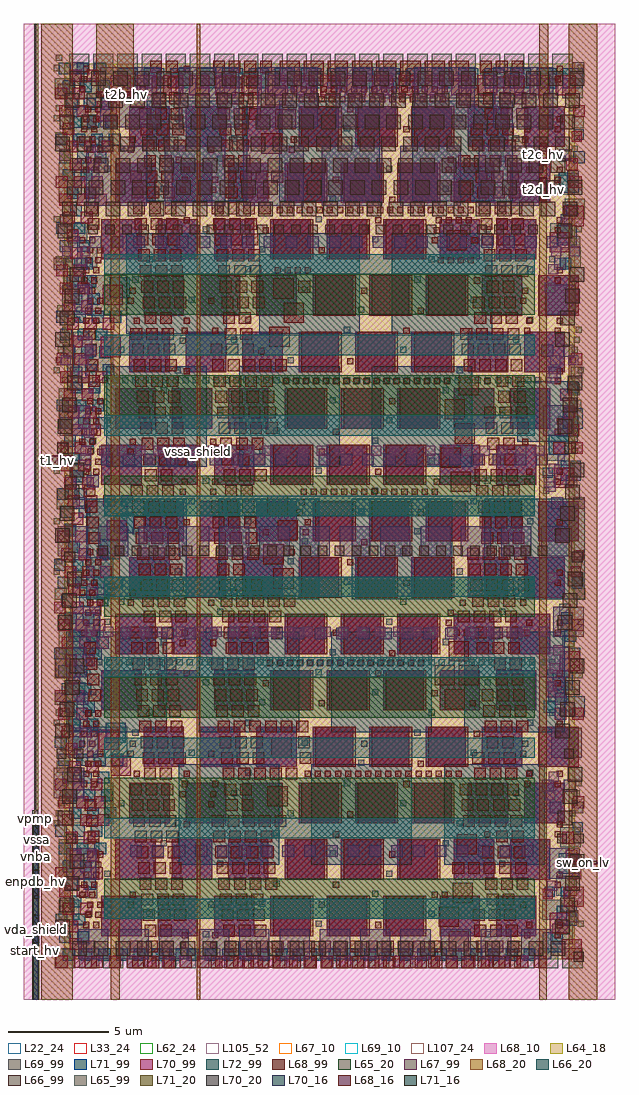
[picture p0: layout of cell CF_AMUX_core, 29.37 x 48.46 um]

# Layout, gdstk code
import gdstk
lib = gdstk.Library(unit=1e-6, precision=1e-09)
def R(c, l, rs):  # rectangles x0, y0, x1, y1
    for r in rs: c.add(gdstk.rectangle(r[:2], r[2:], *l))
def A(c, l, x, y, w, h, nx, ny, dx, dy):  # array of equal rectangles
    R(c, l, [(x+i*dx, y+j*dy, x+i*dx+w, y+j*dy+h) for i in range(nx) for j in range(ny)])
L22_24 = (22, 24)
L33_24 = (33, 24)
L62_24 = (62, 24)
L64_18 = (64, 18)
L65_20 = (65, 20)
L65_99 = (65, 99)
L66_20 = (66, 20)
L66_99 = (66, 99)
L67_10 = (67, 10)
L67_99 = (67, 99)
L68_10 = (68, 10)
L68_16 = (68, 16)
L68_20 = (68, 20)
L68_99 = (68, 99)
L69_10 = (69, 10)
L69_99 = (69, 99)
L70_16 = (70, 16)
L70_20 = (70, 20)
L70_99 = (70, 99)
L71_16 = (71, 16)
L71_20 = (71, 20)
L71_99 = (71, 99)
L72_99 = (72, 99)
L105_52 = (105, 52)
L107_24 = (107, 24)

cf_amux_core = lib.new_cell('CF_AMUX_core')
R(cf_amux_core, L22_24, [(0,0,29.37,48.46)])
R(cf_amux_core, L33_24, [(0,0,29.37,48.46)])
R(cf_amux_core, L62_24, [(0,0,29.37,48.46)])
R(cf_amux_core, L64_18, [(2,2,27.37,46.46)])
A(cf_amux_core, L65_20, 4, 4, 21.37, 2, 1, 7, 0, 5)
A(cf_amux_core, L65_99, 3.04, 18, 0.5, 0.5, 26, 1, 0.9, 0)
A(cf_amux_core, L65_99, 2.84, 27, 0.5, 0.5, 26, 1, 0.9, 0)
R(cf_amux_core, L65_99, [(26,5.4,26.5,5.9), (25.9,9.9,26.4,10.4), (26.06,10.8,26.56,11.3), (25.96,15.3,26.46,15.8), (26.12,16.2,26.62,16.7), (26.28,17.1,26.78,17.6), (26.02,20.7,26.52,21.2), (25.92,25.2,26.42,25.7), (26.08,26.1,26.58,26.6), (3,27.9,3.5,28.4), (25.98,30.6,26.48,31.1), (1.84,31.5,2.34,32), (2.74,31.5,3.24,32), (26.14,31.5,26.64,32), (27.04,31.5,27.54,32), (2.9,32.4,3.4,32.9), (25.88,35.1,26.38,35.6), (26.04,36,26.54,36.5), (1.9,36.9,2.4,37.4), (2.8,36.9,3.3,37.4), (26.2,36.9,26.7,37.4), (27.1,36.9,27.6,37.4)])
A(cf_amux_core, L66_20, 4, 4, 21.37, 1, 1, 9, 0, 4)
A(cf_amux_core, L66_99, 2.4, 2.16, 0.72, 0.72, 23, 2, 1.08, 38.88)
A(cf_amux_core, L66_99, 1.56, 3.24, 0.72, 0.72, 1, 4, 0, 9.72)
A(cf_amux_core, L66_99, 26.4, 3.24, 0.72, 0.72, 1, 4, 0, 9.72)
A(cf_amux_core, L66_99, 1.8, 4.32, 0.72, 0.72, 1, 4, 0, 9.72)
A(cf_amux_core, L66_99, 26.64, 4.32, 0.72, 0.72, 1, 4, 0, 9.72)
A(cf_amux_core, L66_99, 2.04, 5.4, 0.72, 0.72, 1, 4, 0, 9.72)
A(cf_amux_core, L66_99, 26.88, 5.4, 0.72, 0.72, 1, 4, 0, 9.72)
A(cf_amux_core, L66_99, 2.28, 6.48, 0.72, 0.72, 1, 4, 0, 9.72)
A(cf_amux_core, L66_99, 27.12, 6.48, 0.72, 0.72, 1, 4, 0, 9.72)
A(cf_amux_core, L66_99, 1.68, 8.64, 0.72, 0.72, 1, 4, 0, 9.72)
A(cf_amux_core, L66_99, 26.52, 8.64, 0.72, 0.72, 1, 4, 0, 9.72)
A(cf_amux_core, L66_99, 1.92, 9.72, 0.72, 0.72, 1, 3, 0, 9.72)
A(cf_amux_core, L66_99, 26.76, 9.72, 0.72, 0.72, 1, 3, 0, 9.72)
A(cf_amux_core, L66_99, 2.16, 10.8, 0.72, 0.72, 1, 3, 0, 9.72)
A(cf_amux_core, L66_99, 27, 10.8, 0.72, 0.72, 1, 3, 0, 9.72)
A(cf_amux_core, L66_99, 3.68, 22.04, 0.48, 0.48, 27, 1, 0.84, 0)
A(cf_amux_core, L66_99, 3.2, 38, 0.48, 0.48, 27, 1, 0.84, 0)
A(cf_amux_core, L66_99, 1.92, 38.88, 0.72, 0.72, 24, 1, 1.08, 0)
A(cf_amux_core, L66_99, 2.16, 39.96, 0.72, 0.72, 24, 1, 1.08, 0)
A(cf_amux_core, L66_99, 1.56, 42.12, 0.72, 0.72, 24, 1, 1.08, 0)
A(cf_amux_core, L66_99, 1.8, 43.2, 0.72, 0.72, 24, 1, 1.08, 0)
A(cf_amux_core, L66_99, 2.04, 44.28, 0.72, 0.72, 24, 1, 1.08, 0)
A(cf_amux_core, L66_99, 2.28, 45.36, 0.72, 0.72, 24, 1, 1.08, 0)
R(cf_amux_core, L66_99, [(27.32,1.88,27.8,2.36), (2.12,7.76,2.6,8.24), (26.48,7.76,26.96,8.24), (27.32,7.76,27.8,8.24), (1.64,11.96,2.12,12.44), (2.48,11.96,2.96,12.44), (26.84,11.96,27.32,12.44), (2.02,21.7,2.56,22.24), (27.22,21.7,27.76,22.24), (1.66,27.1,2.2,27.64), (26.86,27.1,27.4,27.64)])
R(cf_amux_core, L67_10, [(0,0,29.37,48.46)])
A(cf_amux_core, L67_99, 2.7, 2, 1.5, 1.5, 12, 1, 2, 0)
A(cf_amux_core, L67_99, 5.28, 7.08, 0.58, 0.58, 19, 1, 1.08, 0)
A(cf_amux_core, L67_99, 4.72, 17.88, 0.58, 0.58, 19, 1, 1.08, 0)
A(cf_amux_core, L67_99, 1.7, 22, 1.5, 1.5, 13, 1, 2, 0)
A(cf_amux_core, L67_99, 1.68, 26.52, 0.58, 0.58, 24, 1, 1.08, 0)
A(cf_amux_core, L67_99, 2.2, 37.32, 0.58, 0.58, 24, 1, 1.08, 0)
A(cf_amux_core, L67_99, 3.1, 39.4, 3, 3, 6, 1, 3.9, 0)
A(cf_amux_core, L67_99, 3.8, 43.3, 3, 3, 6, 1, 3.9, 0)
R(cf_amux_core, L67_99, [(26.94,3.84,27.52,4.42), (2.1,6,3.6,7.5), (26.1,6,27.6,7.5), (26.12,9.24,26.7,9.82), (27.2,9.24,27.78,9.82), (1.5,10,3,11.5), (25.74,10.32,26.32,10.9), (26.82,10.32,27.4,10.9), (2.2,12,3.7,13.5), (26.2,12,27.7,13.5), (1.54,14.64,2.12,15.22), (2.62,14.64,3.2,15.22), (26.38,14.64,26.96,15.22), (1.6,16,3.1,17.5), (25.6,16,27.1,17.5), (2.3,18,3.8,19.5), (26.3,18,27.8,19.5), (2.44,24.36,3.02,24.94), (26.2,24.36,26.78,24.94), (27.28,24.36,27.86,24.94), (2.06,25.44,2.64,26.02), (3.14,25.44,3.72,26.02), (25.82,25.44,26.4,26.02), (26.9,25.44,27.48,26.02), (1.8,28,3.3,29.5), (25.8,28,27.3,29.5), (2.32,30.84,2.9,31.42), (26.08,30.84,26.66,31.42), (27.16,30.84,27.74,31.42), (1.94,31.92,2.52,32.5), (3.02,31.92,3.6,32.5), (25.7,31.92,26.28,32.5), (26.78,31.92,27.36,32.5), (1.9,34,3.4,35.5), (25.9,34,27.4,35.5), (1.5,36.24,2.08,36.82), (2.58,36.24,3.16,36.82), (26.34,36.24,26.92,36.82), (1.82,38.4,2.4,38.98), (26.66,38.4,27.24,38.98), (26.98,40.56,27.56,41.14), (1.76,41.64,2.34,42.22), (26.6,41.64,27.18,42.22), (2.08,43.8,2.66,44.38), (1.7,44.88,2.28,45.46), (2.4,45.96,2.98,46.54), (27.24,45.96,27.82,46.54)])
R(cf_amux_core, L68_10, [(0,0,0.86,48.46), (0.86,0,2.445,26.48), (2.445,0,3.61,48.46), (3.61,0,4.325,44.775), (4.325,0,4.76,48.46), (4.76,0,5.455,44.77), (5.455,0,8.6,48.46), (8.6,0,8.77,27.13), (8.77,0,25.6,48.46), (25.6,0,25.965,39.65), (25.965,0,25.97,41.385), (25.97,0,27.07,48.46), (27.07,0,28.48,6.705), (28.48,0,29.37,48.46), (27.07,6.875,28.48,48.46), (0.86,27,2.445,48.46), (8.6,27.3,8.77,48.46), (25.6,40.79,25.965,41.385), (25.6,42.525,25.965,48.46), (25.965,42.525,25.97,48.46), (3.61,45.07,4.325,48.46), (4.76,45.07,5.455,48.46)])
R(cf_amux_core, L68_16, [(27.07,6.705,28.48,6.875), (0.86,26.48,2.445,27), (8.6,27.13,8.77,27.3), (25.6,39.65,25.965,40.79), (25.6,41.385,25.97,42.525), (4.76,44.77,5.455,45.07), (3.61,44.775,4.325,45.07)])
R(cf_amux_core, L68_20, [(0.86,0,2.445,26.48), (4.325,0,4.76,48.46), (8.6,0,8.77,27.13), (25.6,0,25.965,39.65), (25.965,0,25.97,41.385), (27.07,0,28.48,6.705), (27.07,6.705,28.48,6.875), (27.07,6.875,28.48,48.46), (0.86,26.48,2.445,27), (0.86,27,2.445,48.46), (8.6,27.13,8.77,27.3), (8.6,27.3,8.77,48.46), (25.6,39.65,25.965,40.79), (25.6,40.79,25.965,41.385), (25.6,41.385,25.97,42.525), (25.6,42.525,25.965,48.46), (25.9,42.525,26.04,48.46), (4.76,44.77,5.455,45.07), (3.61,44.775,4.325,45.07), (3.61,45.07,4.325,48.46), (4.76,45.07,5.455,48.46)])
A(cf_amux_core, L68_99, 5.38, 1.56, 0.58, 0.58, 3, 2, 0.78, 30.42)
A(cf_amux_core, L68_99, 9.28, 1.56, 0.58, 0.58, 20, 1, 0.78, 0)
A(cf_amux_core, L68_99, 5.3, 2.34, 0.58, 0.58, 3, 2, 0.78, 30.42)
A(cf_amux_core, L68_99, 9.98, 2.34, 0.58, 0.58, 14, 1, 0.78, 0)
A(cf_amux_core, L68_99, 22.46, 2.34, 0.58, 0.58, 3, 1, 0.78, 0)
A(cf_amux_core, L68_99, 7.755, 2.55, 0.3, 0.3, 1, 6, 0, 7.5)
A(cf_amux_core, L68_99, 9.255, 2.55, 0.3, 0.3, 1, 4, 0, 7.5)
A(cf_amux_core, L68_99, 7.855, 3.05, 0.3, 0.3, 1, 6, 0, 7.5)
A(cf_amux_core, L68_99, 24.855, 3.05, 0.3, 0.3, 1, 5, 0, 7.5)
A(cf_amux_core, L68_99, 26.355, 3.05, 0.3, 0.3, 1, 18, 0, 2.5)
A(cf_amux_core, L68_99, 9.9, 3.12, 0.58, 0.58, 3, 1, 0.78, 0)
A(cf_amux_core, L68_99, 22.38, 3.12, 0.58, 0.58, 3, 2, 0.78, 30.42)
A(cf_amux_core, L68_99, 12.38, 3.15, 2, 2, 3, 4, 2.8, 11.2)
A(cf_amux_core, L68_99, 24.955, 3.55, 0.3, 0.3, 1, 6, 0, 7.5)
A(cf_amux_core, L68_99, 26.455, 3.55, 0.3, 0.3, 1, 18, 0, 2.5)
A(cf_amux_core, L68_99, 5.92, 3.9, 0.58, 0.58, 3, 2, 0.78, 30.42)
A(cf_amux_core, L68_99, 9.82, 3.9, 0.58, 0.58, 3, 2, 0.78, 30.42)
A(cf_amux_core, L68_99, 22.3, 3.9, 0.58, 0.58, 3, 2, 0.78, 30.42)
A(cf_amux_core, L68_99, 5.155, 4.55, 0.3, 0.3, 1, 5, 0, 7.5)
A(cf_amux_core, L68_99, 24.655, 4.55, 0.3, 0.3, 1, 3, 0, 7.5)
A(cf_amux_core, L68_99, 5.84, 4.68, 0.58, 0.58, 3, 2, 0.78, 30.42)
A(cf_amux_core, L68_99, 9.74, 4.68, 0.58, 0.58, 3, 2, 0.78, 30.42)
A(cf_amux_core, L68_99, 2.755, 5.05, 0.3, 0.3, 1, 5, 0, 7.5)
A(cf_amux_core, L68_99, 3.255, 5.05, 0.3, 0.3, 1, 5, 0, 7.5)
A(cf_amux_core, L68_99, 5.255, 5.05, 0.3, 0.3, 1, 6, 0, 7.5)
A(cf_amux_core, L68_99, 5.76, 5.46, 0.58, 0.58, 3, 2, 0.78, 30.42)
A(cf_amux_core, L68_99, 9.66, 5.46, 0.58, 0.58, 4, 1, 0.78, 0)
A(cf_amux_core, L68_99, 22.92, 5.46, 0.58, 0.58, 3, 2, 0.78, 30.42)
A(cf_amux_core, L68_99, 13.08, 5.95, 2, 2, 3, 4, 2.8, 11.2)
A(cf_amux_core, L68_99, 5.68, 6.24, 0.58, 0.58, 3, 2, 0.78, 30.42)
A(cf_amux_core, L68_99, 9.58, 6.24, 0.58, 0.58, 4, 1, 0.78, 0)
A(cf_amux_core, L68_99, 21.28, 6.24, 0.58, 0.58, 5, 1, 0.78, 0)
A(cf_amux_core, L68_99, 5.6, 7.02, 0.58, 0.58, 3, 2, 0.78, 30.42)
A(cf_amux_core, L68_99, 9.5, 7.02, 0.58, 0.58, 4, 1, 0.78, 0)
A(cf_amux_core, L68_99, 22.76, 7.02, 0.58, 0.58, 3, 2, 0.78, 30.42)
A(cf_amux_core, L68_99, 5.52, 7.8, 0.58, 0.58, 3, 2, 0.78, 30.42)
A(cf_amux_core, L68_99, 9.42, 7.8, 0.58, 0.58, 4, 1, 0.78, 0)
A(cf_amux_core, L68_99, 5.44, 8.58, 0.58, 0.58, 3, 2, 0.78, 30.42)
A(cf_amux_core, L68_99, 9.34, 8.58, 0.58, 0.58, 5, 1, 0.78, 0)
A(cf_amux_core, L68_99, 21.82, 8.58, 0.58, 0.58, 4, 1, 0.78, 0)
A(cf_amux_core, L68_99, 13.78, 8.75, 2, 2, 3, 4, 2.8, 11.2)
A(cf_amux_core, L68_99, 5.36, 9.36, 0.58, 0.58, 3, 2, 0.78, 30.42)
A(cf_amux_core, L68_99, 21.74, 9.36, 0.58, 0.58, 4, 1, 0.78, 0)
A(cf_amux_core, L68_99, 5.28, 10.14, 0.58, 0.58, 3, 2, 0.78, 30.42)
A(cf_amux_core, L68_99, 21.66, 10.14, 0.58, 0.58, 4, 1, 0.78, 0)
A(cf_amux_core, L68_99, 9.88, 10.92, 0.58, 0.58, 5, 1, 0.78, 0)
A(cf_amux_core, L68_99, 22.36, 10.92, 0.58, 0.58, 3, 1, 0.78, 0)
A(cf_amux_core, L68_99, 13.955, 11.05, 0.3, 0.3, 16, 1, 0.5, 0)
A(cf_amux_core, L68_99, 14.48, 11.55, 2, 2, 3, 3, 2.8, 11.2)
A(cf_amux_core, L68_99, 5.9, 11.7, 0.58, 0.58, 3, 2, 0.78, 30.42)
A(cf_amux_core, L68_99, 9.8, 11.7, 0.58, 0.58, 3, 1, 0.78, 0)
A(cf_amux_core, L68_99, 22.28, 11.7, 0.58, 0.58, 3, 2, 0.78, 30.42)
A(cf_amux_core, L68_99, 9.155, 12.05, 0.3, 0.3, 1, 4, 0, 7.5)
A(cf_amux_core, L68_99, 5.82, 12.48, 0.58, 0.58, 3, 2, 0.78, 30.42)
A(cf_amux_core, L68_99, 9.72, 12.48, 0.58, 0.58, 3, 1, 0.78, 0)
A(cf_amux_core, L68_99, 5.74, 13.26, 0.58, 0.58, 3, 2, 0.78, 30.42)
A(cf_amux_core, L68_99, 9.64, 13.26, 0.58, 0.58, 6, 1, 0.78, 0)
A(cf_amux_core, L68_99, 22.9, 13.26, 0.58, 0.58, 3, 2, 0.78, 30.42)
A(cf_amux_core, L68_99, 5.66, 14.04, 0.58, 0.58, 3, 1, 0.78, 0)
A(cf_amux_core, L68_99, 9.56, 14.04, 0.58, 0.58, 3, 2, 0.78, 30.42)
A(cf_amux_core, L68_99, 22.82, 14.04, 0.58, 0.58, 3, 2, 0.78, 30.42)
A(cf_amux_core, L68_99, 5.58, 14.82, 0.58, 0.58, 3, 1, 0.78, 0)
A(cf_amux_core, L68_99, 9.48, 14.82, 0.58, 0.58, 3, 2, 0.78, 30.42)
A(cf_amux_core, L68_99, 22.74, 14.82, 0.58, 0.58, 3, 1, 0.78, 0)
A(cf_amux_core, L68_99, 5.5, 15.6, 0.58, 0.58, 3, 1, 0.78, 0)
A(cf_amux_core, L68_99, 9.4, 15.6, 0.58, 0.58, 3, 1, 0.78, 0)
A(cf_amux_core, L68_99, 21.6, 15.6, 1, 1, 1, 3, 0, 14.4)
A(cf_amux_core, L68_99, 7.955, 16.05, 0.3, 0.3, 1, 3, 0, 7.5)
A(cf_amux_core, L68_99, 5.42, 16.38, 0.58, 0.58, 3, 1, 0.78, 0)
A(cf_amux_core, L68_99, 9.32, 16.38, 0.58, 0.58, 3, 1, 0.78, 0)
A(cf_amux_core, L68_99, 12.055, 16.55, 0.3, 0.3, 16, 1, 0.5, 0)
A(cf_amux_core, L68_99, 5.34, 17.16, 0.58, 0.58, 3, 1, 0.78, 0)
A(cf_amux_core, L68_99, 10.02, 17.16, 0.58, 0.58, 3, 1, 0.78, 0)
A(cf_amux_core, L68_99, 22.5, 17.16, 0.58, 0.58, 3, 1, 0.78, 0)
A(cf_amux_core, L68_99, 5.26, 17.94, 0.58, 0.58, 3, 1, 0.78, 0)
A(cf_amux_core, L68_99, 9.94, 17.94, 0.58, 0.58, 4, 1, 0.78, 0)
A(cf_amux_core, L68_99, 22.42, 17.94, 0.58, 0.58, 3, 1, 0.78, 0)
A(cf_amux_core, L68_99, 9.355, 18.05, 0.3, 0.3, 3, 1, 6, 0)
A(cf_amux_core, L68_99, 5.96, 18.72, 0.58, 0.58, 3, 1, 0.78, 0)
A(cf_amux_core, L68_99, 9.86, 18.72, 0.58, 0.58, 4, 1, 0.78, 0)
A(cf_amux_core, L68_99, 21.56, 18.72, 0.58, 0.58, 4, 1, 0.78, 0)
A(cf_amux_core, L68_99, 5.88, 19.5, 0.58, 0.58, 3, 1, 0.78, 0)
A(cf_amux_core, L68_99, 9.78, 19.5, 0.58, 0.58, 5, 1, 0.78, 0)
A(cf_amux_core, L68_99, 22.26, 19.5, 0.58, 0.58, 3, 1, 0.78, 0)
A(cf_amux_core, L68_99, 5.8, 20.28, 0.58, 0.58, 3, 1, 0.78, 0)
A(cf_amux_core, L68_99, 9.7, 20.28, 0.58, 0.58, 3, 1, 0.78, 0)
A(cf_amux_core, L68_99, 22.18, 20.28, 0.58, 0.58, 4, 1, 0.78, 0)
A(cf_amux_core, L68_99, 2.855, 20.55, 0.3, 0.3, 1, 4, 0, 7.5)
A(cf_amux_core, L68_99, 3.355, 20.55, 0.3, 0.3, 1, 4, 0, 7.5)
A(cf_amux_core, L68_99, 5.72, 21.06, 0.58, 0.58, 3, 1, 0.78, 0)
A(cf_amux_core, L68_99, 22.1, 21.06, 0.58, 0.58, 4, 1, 0.78, 0)
A(cf_amux_core, L68_99, 5.64, 21.84, 0.58, 0.58, 3, 1, 0.78, 0)
A(cf_amux_core, L68_99, 9.54, 21.84, 0.58, 0.58, 3, 1, 0.78, 0)
A(cf_amux_core, L68_99, 22.02, 21.84, 0.58, 0.58, 4, 1, 0.78, 0)
A(cf_amux_core, L68_99, 5.56, 22.62, 0.58, 0.58, 3, 1, 0.78, 0)
A(cf_amux_core, L68_99, 9.46, 22.62, 0.58, 0.58, 3, 1, 0.78, 0)
A(cf_amux_core, L68_99, 22.72, 22.62, 0.58, 0.58, 3, 1, 0.78, 0)
A(cf_amux_core, L68_99, 5.48, 23.4, 0.58, 0.58, 3, 1, 0.78, 0)
A(cf_amux_core, L68_99, 9.38, 23.4, 0.58, 0.58, 3, 1, 0.78, 0)
A(cf_amux_core, L68_99, 22.64, 23.4, 0.58, 0.58, 3, 1, 0.78, 0)
A(cf_amux_core, L68_99, 5.4, 24.18, 0.58, 0.58, 3, 1, 0.78, 0)
A(cf_amux_core, L68_99, 9.3, 24.18, 0.58, 0.58, 3, 1, 0.78, 0)
A(cf_amux_core, L68_99, 22.56, 24.18, 0.58, 0.58, 3, 1, 0.78, 0)
A(cf_amux_core, L68_99, 5.32, 24.96, 0.58, 0.58, 3, 1, 0.78, 0)
A(cf_amux_core, L68_99, 22.48, 24.96, 0.58, 0.58, 3, 1, 0.78, 0)
A(cf_amux_core, L68_99, 13.755, 25.05, 0.3, 0.3, 14, 1, 0.5, 0)
A(cf_amux_core, L68_99, 9.355, 25.55, 0.3, 0.3, 1, 3, 0, 7.5)
A(cf_amux_core, L68_99, 9.92, 25.74, 0.58, 0.58, 3, 1, 0.78, 0)
A(cf_amux_core, L68_99, 22.4, 25.74, 0.58, 0.58, 3, 1, 0.78, 0)
A(cf_amux_core, L68_99, 5.94, 26.52, 0.58, 0.58, 3, 1, 0.78, 0)
A(cf_amux_core, L68_99, 9.84, 26.52, 0.58, 0.58, 3, 1, 0.78, 0)
A(cf_amux_core, L68_99, 22.32, 26.52, 0.58, 0.58, 3, 1, 0.78, 0)
A(cf_amux_core, L68_99, 5.86, 27.3, 0.58, 0.58, 3, 1, 0.78, 0)
A(cf_amux_core, L68_99, 9.76, 27.3, 0.58, 0.58, 3, 1, 0.78, 0)
A(cf_amux_core, L68_99, 24.755, 27.55, 0.3, 0.3, 1, 3, 0, 7.5)
A(cf_amux_core, L68_99, 5.78, 28.08, 0.58, 0.58, 3, 1, 0.78, 0)
A(cf_amux_core, L68_99, 9.68, 28.08, 0.58, 0.58, 4, 1, 0.78, 0)
A(cf_amux_core, L68_99, 22.94, 28.08, 0.58, 0.58, 3, 1, 0.78, 0)
A(cf_amux_core, L68_99, 5.7, 28.86, 0.58, 0.58, 3, 1, 0.78, 0)
A(cf_amux_core, L68_99, 9.6, 28.86, 0.58, 0.58, 4, 1, 0.78, 0)
A(cf_amux_core, L68_99, 22.86, 28.86, 0.58, 0.58, 3, 1, 0.78, 0)
A(cf_amux_core, L68_99, 5.62, 29.64, 0.58, 0.58, 3, 1, 0.78, 0)
A(cf_amux_core, L68_99, 9.52, 29.64, 0.58, 0.58, 4, 1, 0.78, 0)
A(cf_amux_core, L68_99, 5.54, 30.42, 0.58, 0.58, 3, 1, 0.78, 0)
A(cf_amux_core, L68_99, 9.44, 30.42, 0.58, 0.58, 4, 1, 0.78, 0)
A(cf_amux_core, L68_99, 12.855, 30.55, 0.3, 0.3, 17, 1, 0.5, 0)
A(cf_amux_core, L68_99, 5.46, 31.2, 0.58, 0.58, 3, 1, 0.78, 0)
A(cf_amux_core, L68_99, 9.36, 31.2, 0.58, 0.58, 5, 1, 0.78, 0)
A(cf_amux_core, L68_99, 21.84, 31.2, 0.58, 0.58, 4, 1, 0.78, 0)
A(cf_amux_core, L68_99, 9.28, 31.98, 0.58, 0.58, 3, 1, 0.78, 0)
A(cf_amux_core, L68_99, 21.76, 31.98, 0.58, 0.58, 4, 1, 0.78, 0)
A(cf_amux_core, L68_99, 21.68, 32.76, 0.58, 0.58, 4, 1, 0.78, 0)
A(cf_amux_core, L68_99, 9.66, 35.88, 0.58, 0.58, 3, 1, 0.78, 0)
A(cf_amux_core, L68_99, 12.455, 36.05, 0.3, 0.3, 4, 1, 0.5, 0)
A(cf_amux_core, L68_99, 20.555, 36.55, 0.3, 0.3, 4, 1, 0.5, 0)
A(cf_amux_core, L68_99, 9.58, 36.66, 0.58, 0.58, 3, 1, 0.78, 0)
A(cf_amux_core, L68_99, 22.84, 36.66, 0.58, 0.58, 3, 1, 0.78, 0)
A(cf_amux_core, L68_99, 9.5, 37.44, 0.58, 0.58, 3, 1, 0.78, 0)
A(cf_amux_core, L68_99, 9.42, 38.22, 0.58, 0.58, 3, 1, 0.78, 0)
A(cf_amux_core, L68_99, 22.68, 38.22, 0.58, 0.58, 3, 1, 0.78, 0)
A(cf_amux_core, L68_99, 20.455, 38.55, 0.3, 0.3, 4, 1, 0.5, 0)
A(cf_amux_core, L68_99, 9.34, 39, 0.58, 0.58, 4, 1, 0.78, 0)
A(cf_amux_core, L68_99, 22.6, 39, 0.58, 0.58, 3, 1, 0.78, 0)
A(cf_amux_core, L68_99, 12.555, 39.05, 0.3, 0.3, 20, 1, 0.5, 0)
A(cf_amux_core, L68_99, 10.04, 39.78, 0.58, 0.58, 3, 1, 0.78, 0)
A(cf_amux_core, L68_99, 22.52, 39.78, 0.58, 0.58, 3, 1, 0.78, 0)
A(cf_amux_core, L68_99, 9.96, 40.56, 0.58, 0.58, 4, 1, 0.78, 0)
A(cf_amux_core, L68_99, 22.44, 40.56, 0.58, 0.58, 3, 1, 0.78, 0)
A(cf_amux_core, L68_99, 2.955, 41.05, 0.3, 0.3, 1, 3, 0, 2.5)
A(cf_amux_core, L68_99, 21.58, 41.34, 0.58, 0.58, 4, 1, 0.78, 0)
A(cf_amux_core, L68_99, 5.155, 42.05, 0.3, 0.3, 3, 1, 4, 0)
A(cf_amux_core, L68_99, 22.2, 42.9, 0.58, 0.58, 3, 1, 0.78, 0)
A(cf_amux_core, L68_99, 9.64, 43.68, 0.58, 0.58, 3, 1, 0.78, 0)
A(cf_amux_core, L68_99, 13.655, 44.55, 0.3, 0.3, 15, 1, 0.5, 0)
A(cf_amux_core, L68_99, 13.255, 45.05, 0.3, 0.3, 16, 1, 0.5, 0)
A(cf_amux_core, L68_99, 12.7, 45.6, 1, 1, 8, 1, 1.2, 0)
A(cf_amux_core, L68_99, 9.4, 46.02, 0.58, 0.58, 4, 1, 0.78, 0)
A(cf_amux_core, L68_99, 22.66, 46.02, 0.58, 0.58, 3, 1, 0.78, 0)
R(cf_amux_core, L68_99, [(3.04,1.56,3.62,2.14), (2.96,2.34,3.54,2.92), (21.1,2.4,22.1,3.4), (9.355,3.05,9.655,3.35), (6,3.12,6.58,3.7), (6.78,3.12,7.36,3.7), (2.955,3.55,3.255,3.85), (3.455,3.55,3.755,3.85), (17.455,3.55,17.755,3.85), (20.6,3.6,21.6,4.6), (3.055,4.05,3.355,4.35), (3.555,4.05,3.855,4.35), (3.155,4.55,3.455,4.85), (3.655,4.55,3.955,4.85), (9.155,4.55,9.455,4.85), (14.655,4.55,14.955,4.85), (23,4.68,23.58,5.26), (23.78,4.68,24.36,5.26), (21.3,4.8,22.3,5.8), (20.255,5.05,20.555,5.35), (20.755,5.05,21.055,5.35), (2.855,5.55,3.155,5.85), (3.355,5.55,3.655,5.85), (15.355,5.55,15.655,5.85), (2.955,6.05,3.255,6.35), (3.455,6.05,3.755,6.35), (3.055,6.55,3.355,6.85), (3.555,6.55,3.855,6.85), (3.155,7.05,3.455,7.35), (3.655,7.05,3.955,7.35), (18.155,7.05,18.455,7.35), (21.5,7.2,22.5,8.2), (3.18,7.8,3.76,8.38), (23.46,7.8,24.04,8.38), (24.24,7.8,24.82,8.38), (15.355,8.05,15.655,8.35), (22.855,8.05,23.155,8.35), (7.955,8.55,8.255,8.85), (3.1,8.58,3.68,9.16), (16.055,9.05,16.355,9.35), (3.02,9.36,3.6,9.94), (10.04,9.36,10.62,9.94), (10.82,9.36,11.4,9.94), (9.155,9.55,9.455,9.85), (12.1,9.6,13.1,10.6), (9.96,10.14,10.54,10.72), (10.74,10.14,11.32,10.72), (2.855,10.55,3.155,10.85), (3.355,10.55,3.655,10.85), (9.355,10.55,9.655,10.85), (18.855,10.55,19.155,10.85), (5.98,10.92,6.56,11.5), (6.76,10.92,7.34,11.5), (2.955,11.05,3.255,11.35), (3.455,11.05,3.755,11.35), (5.455,11.05,5.755,11.35), (7.955,11.05,8.255,11.35), (3.055,11.55,3.355,11.85), (3.555,11.55,3.855,11.85), (19.555,11.55,19.855,11.85), (13.7,11.7,14.28,12.28), (12.3,12,13.3,13), (3.155,12.05,3.455,12.35), (3.655,12.05,3.955,12.35), (13.62,12.48,14.2,13.06), (22.98,12.48,23.56,13.06), (23.76,12.48,24.34,13.06), (16.755,12.55,17.055,12.85), (24.755,12.55,25.055,12.85), (2.855,13.05,3.155,13.35), (3.355,13.05,3.655,13.35), (22.355,13.05,22.655,13.35), (2.955,13.55,3.255,13.85), (3.455,13.55,3.755,13.85), (3.055,14.05,3.355,14.35), (3.555,14.05,3.855,14.35), (20.9,14.4,21.9,15.4), (14.655,14.55,14.955,14.85), (22.155,14.55,22.455,14.85), (3.24,14.82,3.82,15.4), (20.255,15.05,20.555,15.35), (11.855,15.55,12.155,15.85), (3.16,15.6,3.74,16.18), (20.4,15.6,21.4,16.6), (23.44,15.6,24.02,16.18), (24.22,15.6,24.8,16.18), (17.455,16.05,17.755,16.35), (3.08,16.38,3.66,16.96), (23.36,16.38,23.94,16.96), (24.14,16.38,24.72,16.96), (21.1,16.8,22.1,17.8), (18.155,17.05,18.455,17.35), (3,17.16,3.58,17.74), (2.855,18.05,3.155,18.35), (3.355,18.05,3.655,18.35), (21.855,18.05,22.155,18.35), (2.955,18.55,3.255,18.85), (3.455,18.55,3.755,18.85), (20.955,18.55,21.255,18.85), (3.055,19.05,3.355,19.35), (3.555,19.05,3.855,19.35), (21.055,19.05,21.355,19.35), (3.155,19.55,3.455,19.85), (3.655,19.55,3.955,19.85), (21.655,19.55,21.955,19.85), (12.4,20.4,13.4,21.4), (18.855,20.55,19.155,20.85), (2.955,21.05,3.255,21.35), (3.455,21.05,3.755,21.35), (9.62,21.06,10.2,21.64), (10.4,21.06,10.98,21.64), (3.055,21.55,3.355,21.85), (3.555,21.55,3.855,21.85), (16.055,21.55,16.355,21.85), (11.9,21.6,12.9,22.6), (3.155,22.05,3.455,22.35), (3.655,22.05,3.955,22.35), (13.155,22.05,13.455,22.35), (16.755,22.55,17.055,22.85), (3.22,22.62,3.8,23.2), (12.6,22.8,13.6,23.8), (11.855,23.05,12.155,23.35), (13.855,23.05,14.155,23.35), (3.14,23.4,3.72,23.98), (13.955,23.55,14.255,23.85), (12.1,24,13.1,25), (13.555,24.05,13.855,24.35), (19.555,24.05,19.855,24.35), (3.06,24.18,3.64,24.76), (13.655,24.55,13.955,24.85), (2.98,24.96,3.56,25.54), (10,24.96,10.58,25.54), (10.78,24.96,11.36,25.54), (21.2,25.2,22.2,26.2), (20.355,25.55,20.655,25.85), (6.02,25.74,6.6,26.32), (6.8,25.74,7.38,26.32), (2.955,26.05,3.255,26.35), (3.455,26.05,3.755,26.35), (17.455,26.05,17.755,26.35), (20.7,26.4,21.7,27.4), (3.055,26.55,3.355,26.85), (3.555,26.55,3.855,26.85), (3.155,27.05,3.455,27.35), (3.655,27.05,3.955,27.35), (14.655,27.05,14.955,27.35), (23.02,27.3,23.6,27.88), (23.8,27.3,24.38,27.88), (9.255,27.55,9.555,27.85), (21.4,27.6,22.4,28.6), (15.355,28.05,15.655,28.35), (2.955,28.55,3.255,28.85), (3.455,28.55,3.755,28.85), (20.9,28.8,21.9,29.8), (3.055,29.05,3.355,29.35), (3.555,29.05,3.855,29.35), (3.155,29.55,3.455,29.85), (3.655,29.55,3.955,29.85), (18.155,29.55,18.455,29.85), (23.56,29.64,24.14,30.22), (24.34,29.64,24.92,30.22), (3.2,30.42,3.78,31), (23.48,30.42,24.06,31), (24.26,30.42,24.84,31), (22.855,30.55,23.155,30.85), (3.12,31.2,3.7,31.78), (16.055,31.55,16.355,31.85), (3.04,31.98,3.62,32.56), (11.655,32.05,11.955,32.35), (12.2,32.4,13.2,33.4), (2.96,32.76,3.54,33.34), (9.98,32.76,10.56,33.34), (10.76,32.76,11.34,33.34), (18.855,33.05,19.155,33.35), (6,33.54,6.58,34.12), (6.78,33.54,7.36,34.12), (9.9,33.54,10.48,34.12), (10.68,33.54,11.26,34.12), (2.955,33.55,3.255,33.85), (3.455,33.55,3.755,33.85), (5.455,33.55,5.755,33.85), (7.955,33.55,8.255,33.85), (12.9,33.6,13.9,34.6), (3.055,34.05,3.355,34.35), (3.555,34.05,3.855,34.35), (19.555,34.05,19.855,34.35), (3.155,34.55,3.455,34.85), (3.655,34.55,3.955,34.85), (24.655,34.55,24.955,34.85), (12.4,34.8,13.4,35.8), (16.755,35.05,17.055,35.35), (13.64,35.1,14.22,35.68), (23,35.1,23.58,35.68), (23.78,35.1,24.36,35.68), (22.355,35.55,22.655,35.85), (2.955,36.05,3.255,36.35), (3.455,36.05,3.755,36.35), (3.055,36.55,3.355,36.85), (3.555,36.55,3.855,36.85), (3.155,37.05,3.455,37.35), (3.655,37.05,3.955,37.35), (14.655,37.05,14.955,37.35), (21,37.2,22,38.2), (2.755,37.55,3.055,37.85), (3.255,37.55,3.555,37.85), (20.255,37.55,20.555,37.85), (22.255,37.55,22.555,37.85), (11.855,38.05,12.155,38.35), (20.355,38.05,20.655,38.35), (3.18,38.22,3.76,38.8), (7.955,38.55,8.255,38.85), (17.455,38.55,17.755,38.85), (3.1,39,3.68,39.58), (18.155,39.55,18.455,39.85), (21.2,39.6,22.2,40.6), (3.02,39.78,3.6,40.36), (9.255,40.05,9.555,40.35), (15.355,40.55,15.655,40.85), (3.455,41.05,3.755,41.35), (7.955,41.05,8.255,41.35), (20.955,41.05,21.255,41.35), (5.98,41.34,6.56,41.92), (6.76,41.34,7.34,41.92), (9.88,41.34,10.46,41.92), (10.66,41.34,11.24,41.92), (3.055,41.55,3.355,41.85), (3.555,41.55,3.855,41.85), (7.555,41.55,7.855,41.85), (21.055,41.55,21.355,41.85), (11.8,42,12.8,43), (3.155,42.05,3.455,42.35), (3.655,42.05,3.955,42.35), (9.8,42.12,10.38,42.7), (10.58,42.12,11.16,42.7), (2.755,42.55,3.055,42.85), (3.255,42.55,3.555,42.85), (13.255,42.55,13.555,42.85), (9.72,42.9,10.3,43.48), (10.5,42.9,11.08,43.48), (18.855,43.05,19.155,43.35), (24.855,43.05,25.155,43.35), (12.5,43.2,13.5,44.2), (3.455,43.55,3.755,43.85), (3.055,44.05,3.355,44.35), (3.555,44.05,3.855,44.35), (16.055,44.05,16.355,44.35), (12,44.4,13,45.4), (6.44,44.46,7.02,45.04), (7.22,44.46,7.8,45.04), (2.755,45.05,3.055,45.35), (5.755,45.05,6.055,45.35), (6.36,45.24,6.94,45.82), (7.14,45.24,7.72,45.82), (23.52,45.24,24.1,45.82), (24.3,45.24,24.88,45.82), (2.855,45.55,3.155,45.85), (6.28,46.02,6.86,46.6), (7.06,46.02,7.64,46.6), (7.955,46.05,8.255,46.35)])
R(cf_amux_core, L69_10, [(0,0,29.37,48.46)])
A(cf_amux_core, L69_99, 1.55, 1.55, 1, 1, 22, 2, 1.2, 43.2)
A(cf_amux_core, L69_99, 3.85, 3.15, 2, 2, 8, 4, 2.8, 11.2)
A(cf_amux_core, L69_99, 17.3, 5.1, 0.3, 0.3, 1, 3, 0, 10)
A(cf_amux_core, L69_99, 1.75, 5.95, 2, 2, 9, 4, 2.8, 11.2)
A(cf_amux_core, L69_99, 12.4, 8.1, 0.3, 0.3, 1, 3, 0, 10)
A(cf_amux_core, L69_99, 2.45, 8.75, 2, 2, 9, 4, 2.8, 11.2)
A(cf_amux_core, L69_99, 3.15, 11.55, 2, 2, 9, 3, 2.8, 11.2)
A(cf_amux_core, L69_99, 11, 13.6, 0.3, 0.3, 1, 3, 0, 10)
A(cf_amux_core, L69_99, 25, 13.6, 0.3, 0.3, 1, 3, 0, 10)
A(cf_amux_core, L69_99, 26.1, 14.1, 0.3, 0.3, 3, 1, 0.5, 0)
A(cf_amux_core, L69_99, 3, 16.1, 0.3, 0.3, 3, 1, 11.5, 0)
A(cf_amux_core, L69_99, 3.1, 16.6, 0.3, 0.3, 47, 1, 0.5, 0)
A(cf_amux_core, L69_99, 9.6, 19.1, 0.3, 0.3, 1, 3, 0, 10)
A(cf_amux_core, L69_99, 23.6, 19.1, 0.3, 0.3, 1, 3, 0, 10)
A(cf_amux_core, L69_99, 1.5, 21.1, 0.3, 0.3, 1, 3, 0, 2.5)
A(cf_amux_core, L69_99, 4.7, 22.1, 0.3, 0.3, 1, 3, 0, 10)
A(cf_amux_core, L69_99, 18.7, 22.1, 0.3, 0.3, 1, 3, 0, 10)
A(cf_amux_core, L69_99, 1.9, 30.6, 0.3, 0.3, 50, 1, 0.5, 0)
A(cf_amux_core, L69_99, 2.25, 45.95, 1, 1, 21, 1, 1.2, 0)
R(cf_amux_core, L69_99, [(2.25,2.75,3.25,3.75), (26.25,2.75,27.25,3.75), (8.9,3.1,9.2,3.4), (22.9,3.1,23.2,3.4), (14.5,3.6,14.8,3.9), (27.5,3.6,27.8,3.9), (1.75,3.95,2.75,4.95), (25.75,3.95,26.75,4.95), (3.1,4.1,3.4,4.4), (6.1,4.1,6.4,4.4), (20.1,4.1,20.4,4.4), (27.1,4.1,27.4,4.4), (11.7,4.6,12,4.9), (27.2,4.6,27.5,4.9), (3.07,5.03,3.65,5.61), (26.45,5.15,27.45,6.15), (12.4,5.6,12.7,5.9), (4,6.1,4.3,6.4), (18,6.1,18.3,6.4), (27.09,6.59,27.67,7.17), (9.6,6.6,9.9,6.9), (23.6,6.6,23.9,6.9), (15.2,7.1,15.5,7.4), (26.65,7.55,27.65,8.55), (6.8,7.6,7.1,7.9), (20.8,7.6,21.1,7.9), (1.5,8.6,1.8,8.9), (7.5,8.6,7.8,8.9), (21.5,8.6,21.8,8.9), (1.6,9.1,1.9,9.4), (13.1,9.1,13.4,9.4), (27.1,9.1,27.4,9.4), (1.7,9.6,2,9.9), (4.7,9.6,5,9.9), (18.7,9.6,19,9.9), (27.2,9.6,27.5,9.9), (1.8,10.1,2.1,10.4), (10.3,10.1,10.6,10.4), (24.3,10.1,24.6,10.4), (27.3,10.1,27.6,10.4), (1.9,10.6,2.2,10.9), (15.9,10.6,16.2,10.9), (27.4,10.6,27.7,10.9), (2.5,11.1,2.8,11.4), (11,11.1,11.3,11.4), (25,11.1,25.3,11.4), (1.65,11.27,2.23,11.85), (2.6,11.6,2.9,11.9), (16.6,11.6,16.9,11.9), (8.2,12.1,8.5,12.4), (22.2,12.1,22.5,12.4), (1.85,12.35,2.85,13.35), (13.8,12.6,14.1,12.9), (5.4,13.1,5.7,13.4), (19.4,13.1,19.7,13.4), (1.5,13.6,1.8,13.9), (2.19,13.61,2.77,14.19), (1.6,14.1,1.9,14.4), (3.1,14.1,3.4,14.4), (6.1,14.1,6.4,14.4), (20.1,14.1,20.4,14.4), (11.7,14.6,12,14.9), (2.05,14.75,3.05,15.75), (26.05,14.75,27.05,15.75), (3.3,15.1,3.6,15.4), (27.3,15.1,27.6,15.4), (8.9,15.6,9.2,15.9), (22.9,15.6,23.2,15.9), (1.55,15.95,2.55,16.95), (26.75,15.95,27.75,16.95), (15.2,17.1,15.5,17.4), (26.75,17.51,27.33,18.09), (6.8,17.6,7.1,17.9), (20.8,17.6,21.1,17.9), (26.67,18.29,27.25,18.87), (4,18.6,4.3,18.9), (18,18.6,18.3,18.9), (27.5,18.6,27.8,18.9), (26.59,19.07,27.17,19.65), (4.7,19.6,5,19.9), (18.7,19.6,19,19.9), (1.55,19.85,2.13,20.43), (27.29,19.85,27.87,20.43), (10.3,20.1,10.6,20.4), (24.3,20.1,24.6,20.4), (15.9,20.6,16.2,20.9), (27.21,20.63,27.79,21.21), (7.5,21.1,7.8,21.4), (21.5,21.1,21.8,21.4), (27.13,21.41,27.71,21.99), (1.6,21.6,1.9,21.9), (13.1,21.6,13.4,21.9), (2.09,22.19,2.67,22.77), (13.8,22.6,14.1,22.9), (2.01,22.97,2.59,23.55), (5.4,23.1,5.7,23.4), (19.4,23.1,19.7,23.4), (16.6,24.1,16.9,24.4), (1.65,24.35,2.65,25.35), (8.2,24.6,8.5,24.9), (22.2,24.6,22.5,24.9), (25.8,25.1,26.1,25.4), (2.35,25.55,3.35,26.55), (26.35,25.55,27.35,26.55), (8.9,25.6,9.2,25.9), (22.9,25.6,23.2,25.9), (14.5,26.1,14.8,26.4), (6.1,26.6,6.4,26.9), (20.1,26.6,20.4,26.9), (1.85,26.75,2.85,27.75), (25.85,26.75,26.85,27.75), (3.2,27.1,3.5,27.4), (11.7,27.1,12,27.4), (27.2,27.1,27.5,27.4), (3.3,27.6,3.6,27.9), (17.3,27.6,17.6,27.9), (26.55,27.95,27.55,28.95), (4,28.6,4.3,28.9), (18,28.6,18.3,28.9), (27.11,29.21,27.69,29.79), (15.2,29.6,15.5,29.9), (27.03,29.99,27.61,30.57), (6.8,30.1,7.1,30.4), (20.8,30.1,21.1,30.4), (1.5,31.1,1.8,31.4), (7.5,31.1,7.8,31.4), (21.5,31.1,21.8,31.4), (27.5,31.1,27.8,31.4), (1.6,31.6,1.9,31.9), (13.1,31.6,13.4,31.9), (27.1,31.6,27.4,31.9), (1.7,32.1,2,32.4), (27.2,32.1,27.5,32.4), (1.8,32.6,2.1,32.9), (10.3,32.6,10.6,32.9), (24.3,32.6,24.6,32.9), (27.3,32.6,27.6,32.9), (1.9,33.1,2.2,33.4), (15.9,33.1,16.2,33.4), (27.4,33.1,27.7,33.4), (2.5,33.6,2.8,33.9), (1.67,33.89,2.25,34.47), (2.6,34.1,2.9,34.4), (16.6,34.1,16.9,34.4), (8.2,34.6,8.5,34.9), (22.2,34.6,22.5,34.9), (13.8,35.1,14.1,35.4), (1.95,35.15,2.95,36.15), (5.4,35.6,5.7,35.9), (19.4,35.6,19.7,35.9), (11,36.1,11.3,36.4), (25,36.1,25.3,36.4), (2.65,36.35,3.65,37.35), (26.65,36.35,27.65,37.35), (1.6,36.6,1.9,36.9), (2.1,36.6,2.4,36.9), (6.1,36.6,6.4,36.9), (20.1,36.6,20.4,36.9), (26.1,36.6,26.4,36.9), (11.7,37.1,12,37.4), (2.15,37.55,3.15,38.55), (26.15,37.55,27.15,38.55), (17.3,37.6,17.6,37.9), (8.9,38.1,9.2,38.4), (22.9,38.1,23.2,38.4), (27.4,38.1,27.7,38.4), (1.5,38.6,1.8,38.9), (14.5,38.6,14.8,38.9), (26.85,38.75,27.85,39.75), (15.2,39.6,15.5,39.9), (26.35,39.95,27.35,40.95), (6.8,40.1,7.1,40.4), (20.8,40.1,21.1,40.4), (12.4,40.6,12.7,40.9), (4,41.1,4.3,41.4), (18,41.1,18.3,41.4), (9.6,41.6,9.9,41.9), (23.6,41.6,23.9,41.9), (26.6,41.6,26.9,41.9), (27.1,41.6,27.4,41.9), (27.2,42.1,27.5,42.4), (1.57,42.47,2.15,43.05), (10.3,42.6,10.6,42.9), (24.3,42.6,24.6,42.9), (27.3,42.6,27.6,42.9), (15.9,43.1,16.2,43.4), (27.23,43.25,27.81,43.83), (1.5,43.6,1.8,43.9), (7.5,43.6,7.8,43.9), (21.5,43.6,21.8,43.9), (1.6,44.1,1.9,44.4), (13.1,44.1,13.4,44.4), (27.1,44.1,27.4,44.4), (1.5,46.1,1.8,46.4), (27.5,46.1,27.8,46.4), (1.6,46.6,1.9,46.9)])
A(cf_amux_core, L70_16, 0.415, 5.13, 0.3, 0.8, 1, 6, 0, 0.63)
R(cf_amux_core, L70_16, [(0.415,0,0.715,2.28), (0.415,2.61,0.715,5.05)])
A(cf_amux_core, L70_20, 0.415, 4.815, 0.3, 0.8, 1, 13, 0, 0.315)
R(cf_amux_core, L70_20, [(0.415,0,0.715,2.28), (0.415,2.045,0.715,2.845), (0.415,2.61,0.715,5.05), (0.515,9.16,0.615,48.46)])
A(cf_amux_core, L70_99, 1.595, 1.58, 0.58, 0.58, 28, 1, 0.88, 0)
A(cf_amux_core, L70_99, 3.85, 3.15, 2, 2, 8, 4, 2.8, 11.2)
A(cf_amux_core, L70_99, 4.55, 5.95, 2, 2, 8, 4, 2.8, 11.2)
A(cf_amux_core, L70_99, 1.575, 5.98, 0.58, 0.58, 3, 1, 0.88, 0)
A(cf_amux_core, L70_99, 1.915, 8.62, 0.58, 0.58, 3, 1, 0.88, 0)
A(cf_amux_core, L70_99, 5.25, 8.75, 2, 2, 8, 4, 2.8, 11.2)
A(cf_amux_core, L70_99, 1.735, 9.5, 0.58, 0.58, 3, 1, 0.88, 0)
A(cf_amux_core, L70_99, 1.555, 10.38, 0.58, 0.58, 3, 1, 0.88, 0)
A(cf_amux_core, L70_99, 5.95, 11.55, 2, 2, 8, 3, 2.8, 11.2)
A(cf_amux_core, L70_99, 1.875, 17.42, 0.58, 0.58, 3, 1, 0.88, 0)
A(cf_amux_core, L70_99, 1.695, 18.3, 0.58, 0.58, 3, 1, 0.88, 0)
A(cf_amux_core, L70_99, 1.515, 19.18, 0.58, 0.58, 3, 1, 0.88, 0)
A(cf_amux_core, L70_99, 2.215, 20.06, 0.58, 0.58, 3, 1, 0.88, 0)
A(cf_amux_core, L70_99, 2.035, 20.94, 0.58, 0.58, 3, 1, 0.88, 0)
A(cf_amux_core, L70_99, 1.855, 21.82, 0.58, 0.58, 3, 1, 0.88, 0)
A(cf_amux_core, L70_99, 2.195, 24.46, 0.58, 0.58, 4, 1, 0.88, 0)
A(cf_amux_core, L70_99, 1.815, 30.62, 0.58, 0.58, 3, 1, 0.88, 0)
A(cf_amux_core, L70_99, 2.155, 33.26, 0.58, 0.58, 3, 1, 0.88, 0)
A(cf_amux_core, L70_99, 1.775, 39.42, 0.58, 0.58, 3, 1, 0.88, 0)
A(cf_amux_core, L70_99, 1.595, 40.3, 0.58, 0.58, 3, 1, 0.88, 0)
A(cf_amux_core, L70_99, 2.115, 42.06, 0.58, 0.58, 3, 1, 0.88, 0)
A(cf_amux_core, L70_99, 4.315, 44.9, 1, 1, 18, 1, 1.3, 0)
R(cf_amux_core, L70_99, [(26.715,2,27.715,3), (2.295,2.46,2.875,3.04), (26.115,3.3,27.115,4.3), (2.115,3.34,2.695,3.92), (1.935,4.22,2.515,4.8), (2.815,4.22,3.395,4.8), (26.815,4.6,27.815,5.6), (25.765,5,26.265,5.5), (1.755,5.1,2.335,5.68), (2.635,5.1,3.215,5.68), (27.095,5.98,27.675,6.56), (2.275,6.86,2.855,7.44), (3.155,6.86,3.735,7.44), (26.915,6.86,27.495,7.44), (2.095,7.74,2.675,8.32), (2.975,7.74,3.555,8.32), (26.735,7.74,27.315,8.32), (27.255,9.5,27.835,10.08), (4.315,11.1,5.315,12.1), (2.255,11.26,2.835,11.84), (3.135,11.26,3.715,11.84), (2.075,12.14,2.655,12.72), (3.715,12.4,4.715,13.4), (1.895,13.02,2.475,13.6), (2.775,13.02,3.355,13.6), (1.715,13.9,2.295,14.48), (2.595,13.9,3.175,14.48), (26.355,13.9,26.935,14.48), (27.235,13.9,27.815,14.48), (1.535,14.78,2.115,15.36), (2.415,14.78,2.995,15.36), (25.915,15,26.915,16), (2.235,15.66,2.815,16.24), (26.615,16.3,27.615,17.3), (2.055,16.54,2.635,17.12), (2.935,16.54,3.515,17.12), (27.215,18.3,27.795,18.88), (27.165,21,27.665,21.5), (27.315,21.8,27.815,22.3), (1.675,22.7,2.255,23.28), (2.555,22.7,3.135,23.28), (4.115,22.8,5.115,23.8), (2.375,23.58,2.955,24.16), (2.015,25.34,2.595,25.92), (2.895,25.34,3.475,25.92), (26.315,25.4,27.315,26.4), (1.835,26.22,2.415,26.8), (2.715,26.22,3.295,26.8), (1.655,27.1,2.235,27.68), (2.535,27.1,3.115,27.68), (26.295,27.1,26.875,27.68), (27.175,27.1,27.755,27.68), (2.355,27.98,2.935,28.56), (3.235,27.98,3.815,28.56), (26.995,27.98,27.575,28.56), (2.175,28.86,2.755,29.44), (3.055,28.86,3.635,29.44), (26.815,28.86,27.395,29.44), (1.995,29.74,2.575,30.32), (2.875,29.74,3.455,30.32), (26.635,29.74,27.215,30.32), (1.635,31.5,2.215,32.08), (2.515,31.5,3.095,32.08), (27.155,31.5,27.735,32.08), (3.815,31.9,4.815,32.9), (2.335,32.38,2.915,32.96), (1.975,34.14,2.555,34.72), (2.855,34.14,3.435,34.72), (3.915,34.5,4.915,35.5), (1.795,35.02,2.375,35.6), (2.675,35.02,3.255,35.6), (1.615,35.9,2.195,36.48), (2.495,35.9,3.075,36.48), (2.315,36.78,2.895,37.36), (26.115,37.1,27.115,38.1), (2.135,37.66,2.715,38.24), (26.815,38.4,27.815,39.4), (1.955,38.54,2.535,39.12), (2.835,38.54,3.415,39.12), (27.115,40.3,27.695,40.88), (2.295,41.18,2.875,41.76), (3.175,41.18,3.755,41.76), (26.935,41.18,27.515,41.76), (27.215,42.6,27.715,43.1), (1.935,42.94,2.515,43.52), (3.615,43.6,4.615,44.6), (1.755,43.82,2.335,44.4), (2.635,43.82,3.215,44.4), (27.275,43.82,27.855,44.4), (1.575,44.7,2.155,45.28), (2.455,44.7,3.035,45.28), (2.275,45.58,2.855,46.16), (3.155,45.58,3.735,46.16)])
A(cf_amux_core, L71_16, 0.465, 2.79, 0.3, 1.42, 1, 3, 0, 2.22)
A(cf_amux_core, L71_20, 0.465, 2.79, 0.3, 1.42, 1, 3, 0, 2.22)
R(cf_amux_core, L71_20, [(0.465,0,0.765,2.79), (0.465,4.21,0.765,5.01), (0.465,6.43,0.765,7.23), (0.515,8.65,0.715,48.46)])
A(cf_amux_core, L71_99, 1.945, 1.93, 0.58, 0.58, 27, 1, 0.88, 0)
A(cf_amux_core, L71_99, 3.85, 3.15, 2, 2, 8, 4, 2.8, 11.2)
A(cf_amux_core, L71_99, 4.55, 5.95, 2, 2, 8, 4, 2.8, 11.2)
A(cf_amux_core, L71_99, 1.745, 7.21, 0.58, 0.58, 3, 2, 0.88, 38.72)
A(cf_amux_core, L71_99, 1.565, 8.09, 0.58, 0.58, 3, 1, 0.88, 0)
A(cf_amux_core, L71_99, 5.25, 8.75, 2, 2, 8, 4, 2.8, 11.2)
A(cf_amux_core, L71_99, 2.265, 8.97, 0.58, 0.58, 3, 1, 0.88, 0)
A(cf_amux_core, L71_99, 2.085, 9.85, 0.58, 0.58, 3, 1, 0.88, 0)
A(cf_amux_core, L71_99, 1.905, 10.73, 0.58, 0.58, 3, 1, 0.88, 0)
A(cf_amux_core, L71_99, 5.95, 11.55, 2, 2, 8, 3, 2.8, 11.2)
A(cf_amux_core, L71_99, 1.725, 11.61, 0.58, 0.58, 4, 1, 0.88, 0)
A(cf_amux_core, L71_99, 1.525, 16.89, 0.58, 0.58, 3, 1, 0.88, 0)
A(cf_amux_core, L71_99, 1.865, 19.53, 0.58, 0.58, 3, 1, 0.88, 0)
A(cf_amux_core, L71_99, 1.685, 20.41, 0.58, 0.58, 4, 1, 0.88, 0)
A(cf_amux_core, L71_99, 1.825, 28.33, 0.58, 0.58, 3, 1, 0.88, 0)
A(cf_amux_core, L71_99, 1.645, 29.21, 0.58, 0.58, 3, 1, 0.88, 0)
A(cf_amux_core, L71_99, 2.165, 30.97, 0.58, 0.58, 3, 1, 0.88, 0)
A(cf_amux_core, L71_99, 1.985, 31.85, 0.58, 0.58, 3, 1, 0.88, 0)
A(cf_amux_core, L71_99, 1.805, 32.73, 0.58, 0.58, 3, 1, 0.88, 0)
A(cf_amux_core, L71_99, 1.625, 33.61, 0.58, 0.58, 4, 1, 0.88, 0)
A(cf_amux_core, L71_99, 1.765, 41.53, 0.58, 0.58, 3, 1, 0.88, 0)
A(cf_amux_core, L71_99, 1.585, 42.41, 0.58, 0.58, 4, 1, 0.88, 0)
A(cf_amux_core, L71_99, 2.285, 43.29, 0.58, 0.58, 3, 1, 0.88, 0)
A(cf_amux_core, L71_99, 2.105, 44.17, 0.58, 0.58, 3, 1, 0.88, 0)
A(cf_amux_core, L71_99, 1.925, 45.05, 0.58, 0.58, 3, 1, 0.88, 0)
A(cf_amux_core, L71_99, 4.665, 45.25, 1, 1, 18, 1, 1.3, 0)
R(cf_amux_core, L71_99, [(25.765,2.35,26.765,3.35), (1.765,2.81,2.345,3.39), (2.645,2.81,3.225,3.39), (26.465,3.65,27.465,4.65), (1.585,3.69,2.165,4.27), (2.465,3.69,3.045,4.27), (2.285,4.57,2.865,5.15), (25.865,5.1,26.365,5.6), (26.665,5.1,27.165,5.6), (2.105,5.45,2.685,6.03), (2.985,5.45,3.565,6.03), (26.565,6.25,27.565,7.25), (1.925,6.33,2.505,6.91), (2.805,6.33,3.385,6.91), (27.265,8.3,27.765,8.8), (1.545,12.49,2.125,13.07), (2.425,12.49,3.005,13.07), (4.065,12.75,5.065,13.75), (2.245,13.37,2.825,13.95), (3.125,13.37,3.705,13.95), (26.865,14.05,27.865,15.05), (2.065,14.25,2.645,14.83), (2.945,14.25,3.525,14.83), (25.825,14.25,26.405,14.83), (1.885,15.13,2.465,15.71), (2.765,15.13,3.345,15.71), (26.265,15.35,27.265,16.35), (1.705,16.01,2.285,16.59), (2.585,16.01,3.165,16.59), (27.045,16.89,27.625,17.47), (2.225,17.77,2.805,18.35), (3.105,17.77,3.685,18.35), (26.865,17.77,27.445,18.35), (2.045,18.65,2.625,19.23), (2.925,18.65,3.505,19.23), (26.685,18.65,27.265,19.23), (27.205,20.41,27.785,20.99), (1.505,21.29,2.085,21.87), (2.385,21.29,2.965,21.87), (3.765,21.85,4.765,22.85), (2.205,22.17,2.785,22.75), (2.025,23.05,2.605,23.63), (4.465,23.15,5.465,24.15), (1.845,23.93,2.425,24.51), (2.725,23.93,3.305,24.51), (1.665,24.81,2.245,25.39), (2.545,24.81,3.125,25.39), (2.365,25.69,2.945,26.27), (26.665,25.75,27.665,26.75), (25.765,25.9,26.265,26.4), (2.185,26.57,2.765,27.15), (26.065,27.05,27.065,28.05), (2.005,27.45,2.585,28.03), (2.885,27.45,3.465,28.03), (26.765,28.35,27.765,29.35), (2.345,30.09,2.925,30.67), (3.225,30.09,3.805,30.67), (26.985,30.09,27.565,30.67), (2.325,34.49,2.905,35.07), (3.205,34.49,3.785,35.07), (4.265,34.85,5.265,35.85), (2.145,35.37,2.725,35.95), (3.025,35.37,3.605,35.95), (1.965,36.25,2.545,36.83), (2.845,36.25,3.425,36.83), (26.605,36.25,27.185,36.83), (1.785,37.13,2.365,37.71), (2.665,37.13,3.245,37.71), (26.465,37.45,27.465,38.45), (1.605,38.01,2.185,38.59), (2.485,38.01,3.065,38.59), (2.305,38.89,2.885,39.47), (26.945,38.89,27.525,39.47), (2.125,39.77,2.705,40.35), (3.005,39.77,3.585,40.35), (26.565,40.05,27.565,41.05), (1.945,40.65,2.525,41.23), (2.825,40.65,3.405,41.23), (27.285,41.53,27.865,42.11), (27.315,42.7,27.815,43.2)])
A(cf_amux_core, L72_99, 7.69, 6.69, 4.99, 4.99, 3, 1, 6.59, 0)
A(cf_amux_core, L72_99, 2.1, 13.28, 4.99, 4.99, 4, 1, 6.59, 0)
A(cf_amux_core, L72_99, 3.1, 19.87, 4.99, 4.99, 4, 1, 6.59, 0)
A(cf_amux_core, L72_99, 4.1, 26.46, 4.99, 4.99, 3, 1, 6.59, 0)
A(cf_amux_core, L72_99, 5.1, 33.05, 4.99, 4.99, 3, 1, 6.59, 0)
A(cf_amux_core, L72_99, 6.1, 39.64, 4.99, 4.99, 3, 1, 6.59, 0)
R(cf_amux_core, L72_99, [(24.5,27.7,27.5,30.7)])
R(cf_amux_core, L105_52, [(0,0,29.37,48.46)])
R(cf_amux_core, L107_24, [(0,0,29.37,48.46)])
cf_amux_core.add(gdstk.Label('t2b_hv', (5.108,44.92), layer=68, texttype=5))
cf_amux_core.add(gdstk.Label('t2a_hv', (3.968,44.923), layer=68, texttype=5))
cf_amux_core.add(gdstk.Label('t2c_hv', (25.785,41.955), layer=68, texttype=5))
cf_amux_core.add(gdstk.Label('t2d_hv', (25.783,40.22), layer=68, texttype=5))
cf_amux_core.add(gdstk.Label('sw_on_lv', (27.775,6.79), layer=68, texttype=5))
cf_amux_core.add(gdstk.Label('vssa_shield', (8.685,27.215), layer=68, texttype=5))
cf_amux_core.add(gdstk.Label('t1_hv', (1.653,26.74), layer=68, texttype=5))
cf_amux_core.add(gdstk.Label('enpdb_hv', (0.565,5.845), layer=70, texttype=5))
cf_amux_core.add(gdstk.Label('holdb_hv', (0.565,5.215), layer=70, texttype=5))
cf_amux_core.add(gdstk.Label('start_hv', (0.565,2.445), layer=70, texttype=5))
cf_amux_core.add(gdstk.Label('vnba', (0.565,7.105), layer=70, texttype=5))
cf_amux_core.add(gdstk.Label('vpbd', (0.565,7.735), layer=70, texttype=5))
cf_amux_core.add(gdstk.Label('vpmp', (0.565,8.995), layer=70, texttype=5))
cf_amux_core.add(gdstk.Label('vpwrd', (0.565,8.365), layer=70, texttype=5))
cf_amux_core.add(gdstk.Label('vssd', (0.565,6.475), layer=70, texttype=5))
cf_amux_core.add(gdstk.Label('vda', (0.615,5.72), layer=71, texttype=5))
cf_amux_core.add(gdstk.Label('vda_shield', (0.615,3.5), layer=71, texttype=5))
cf_amux_core.add(gdstk.Label('vssa', (0.615,7.94), layer=71, texttype=5))

lib.write_gds('CF_AMUX_core.gds')
